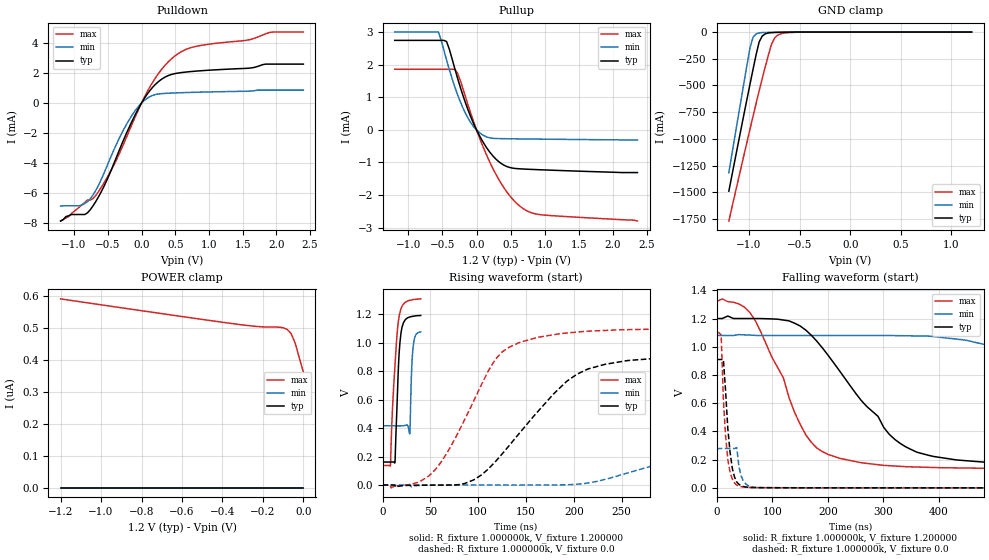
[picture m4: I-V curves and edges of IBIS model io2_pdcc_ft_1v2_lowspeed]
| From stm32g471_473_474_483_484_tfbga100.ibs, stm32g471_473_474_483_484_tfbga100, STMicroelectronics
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|   Model io2_pdcc_ft_1v2_lowspeed
[Model]  io2_pdcc_ft_1v2_lowspeed
Model_type I/O
Polarity   Non-Inverting
Enable   Active-Low
Vinl =   0.360000V
Vinh =   0.840000V
Vmeas =  0.600000V
Cref =   40.000000pF
Rref =   100.000000M
Vref =   0.0V
C_comp   3.923200pF   3.103700pF   4.923200pF
[Temperature Range]   25.000000   -40.000000   0.125000k
[Pullup Reference]   1.200000V   1.080000V   1.320000V
[Pulldown Reference]   0.0V   0.0V   0.0V
[POWER Clamp Reference]   1.200000V   1.080000V   1.320000V
[GND Clamp Reference]   0.0V   0.0V   0.0V
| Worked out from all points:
|   slope of the pulldown table from 0 to 0.18 V, typ, clamps not added: 160 ohm
|   slope of the pullup table from 0 to 0.18 V, typ, clamps not added: 281 ohm
|   GND clamp passes 1 mA (typ) near -0.58 V on its own axis
|   rising waveform, R_fixture 1.000000k, V_fixture 1.200000: 20-80 % time 3.93ns typ, 2.3ns min, 6ns max; typ from 0.161 V to 1.19 V
|   rising waveform, R_fixture 1.000000k, V_fixture 0.0: 20-80 % time 72ns typ, 103ns min, 50.9ns max; typ from 0 V to 0.909 V
|   falling waveform, R_fixture 1.000000k, V_fixture 1.200000: 20-80 % time 123ns typ, 290ns min, 78.8ns max; typ from 1.2 V to 0.161 V
|   falling waveform, R_fixture 1.000000k, V_fixture 0.0: 20-80 % time 11.3ns typ, 9.3ns min, 9.75ns max; typ from 0.909 V to 0 V
[Pulldown]
|Voltage   I(typ)   I(min)   I(max)
-1.2V     -7.9mA     -6.9mA     -7.9mA
-920mV    -7.464mA   -6.879mA   -6.96mA
-840mV    -7.464mA   -6.721mA   -6.65mA
-720mV    -6.893mA   -6.163mA   -6.401mA
-440mV    -4.389mA   -3.449mA   -4.411mA
-120mV    -1.022mA   -674.6uA   -1.201mA
80mV      569.2uA    307.2uA    721.9uA
320mV     1.664mA    639.8uA    2.378mA
520mV     1.996mA    684uA      3.24mA
760mV     2.123mA    719uA      3.749mA
1.92V     2.611mA    868uA      4.749mA
2.4V      2.611mA    868uA      4.759mA
[Pullup]
|Voltage   I(typ)   I(min)   I(max)
-1.2V     2.756mA    3.013mA    1.867mA
-560mV    2.756mA    3.013mA    1.867mA
-440mV    2.722mA    2.155mA    1.867mA
-320mV    1.896mA    1.332mA    1.867mA
-280mV    1.605mA    1.096mA    1.753mA
-160mV    820.1uA    504.5uA    1.006mA
0V        180fA      0A         5.09nA
200mV     -697.7uA   -244.9uA   -1.014mA
400mV     -1.08mA    -267.8uA   -1.772mA
600mV     -1.19mA    -273.6uA   -2.279mA
840mV     -1.216mA   -279.5uA   -2.568mA
2.36V     -1.31mA    -310uA     -2.8mA
[GND_clamp]
|Voltage   I(typ)   I(min)   I(max)
-1.2V     -1.489A    -1.316A    -1.768A
-990mV    -483.9mA   -143.2mA   -905.1mA
-960mV    -345.5mA   -47.06mA   -785.1mA
-930mV    -210.2mA   -16.78mA   -666.5mA
-900mV    -91.9mA    -7.899mA   -550mA
-870mV    -37.65mA   -5.169mA   -436mA
-780mV    -5.831mA   -2.725mA   -119.5mA
-750mV    -4.305mA   -2.173mA   -59.87mA
-720mV    -3.378mA   -1.668mA   -31.03mA
-660mV    -2.12mA    -830uA     -10.46mA
-480mV    -193.8uA   -7.86uA    -1.422mA
1.2V      0A         0A         248.8nA
[POWER_clamp]
|Voltage   I(typ)   I(min)   I(max)
-1.2V     0A         0A         592.1nA
-600mV    0A         0A         536.8nA
-320mV    0A         0A         512.1nA
-220mV    0A         0A         505.2nA
-120mV    0A         0A         503.5nA
-100mV    0A         0A         501.6nA
-80mV     0A         0A         496.5nA
-60mV     0A         0A         482.9nA
-40mV     0A         0A         452.5nA
-20mV     0A         0A         407nA
0V        0A         0A         363nA
[Ramp]
| variable   typ   min   max
dV/dt_r  0.70314/27.81265n   0.61458/66.11974n   0.77813/25.39545n
dV/dt_f  0.71076/79.14866n   0.63233/0.18064u   0.78368/51.62223n
R_load = 10.000000k
[Rising Waveform]
R_fixture= 1.000000k
V_fixture= 1.200000
V_fixture_min= 1.080000
V_fixture_max= 1.320000
|time   V(typ)   V(min)   V(max)
0s        161.5mV    416.1mV    137.1mV
8.168ns   161.4mV    415.8mV    136.4mV
10.17ns   161.6mV    415.8mV    506.7mV
12.89ns   156.7mV    415.7mV    831mV
17.78ns   967.8mV    415.6mV    1.202V
21.94ns   1.142V     416.5mV    1.272V
28.43ns   1.18V      361.6mV    1.298V
30.27ns   1.184V     786.2mV    1.3V
31.71ns   1.185V     954.7mV    1.302V
39.88ns   1.191V     1.076V     1.308V
[Rising Waveform]
R_fixture= 1.000000k
V_fixture= 0.0
V_fixture_min= 0.0
V_fixture_max= 0.0
|time   V(typ)   V(min)   V(max)
0s        35.56nV    40.45nV    16.79uV
30.03ns   -1.828mV   -12.45mV   4.665mV
55.06ns   -775.4uV   -639.7uV   108.1mV
86.09ns   11.02mV    -279.3uV   462.7mV
118.1ns   165.1mV    -441.6uV   883.7mV
144.1ns   372mV      -357.8uV   1.003V
192.2ns   726.3mV    1.295mV    1.068V
232.2ns   847.3mV    39.13mV    1.086V
360.4ns   904.5mV    234.3mV    1.099V
498.5ns   908.9mV    273.2mV    1.1V
[Falling Waveform]
R_fixture= 1.000000k
V_fixture= 1.200000
V_fixture_min= 1.080000
V_fixture_max= 1.320000
|time   V(typ)   V(min)   V(max)
0s        1.2V       1.08V      1.32V
60.06ns   1.2V       1.083V     1.241V
130.1ns   1.183V     1.08V      639.2mV
180.2ns   1.039V     1.08V      282.1mV
300.3ns   429.7mV    1.08V      159.5mV
360.4ns   252.4mV    1.077V     147.6mV
440.4ns   194.9mV    1.05V      140.9mV
810.8ns   162mV      560.7mV    137.1mV
1.101us   161.5mV    438.7mV    137.1mV
4.985us   161.5mV    416.1mV    137.1mV
[Falling Waveform]
R_fixture= 1.000000k
V_fixture= 0.0
V_fixture_min= 0.0
V_fixture_max= 0.0
|time   V(typ)   V(min)   V(max)
0s        909.4mV    278.6mV    1.1V
8.008ns   909.4mV    278.6mV    1.084V
12.01ns   909.4mV    278.6mV    628mV
16.02ns   685.7mV    278.6mV    366.3mV
20.02ns   419.5mV    278.6mV    200.4mV
28.03ns   140mV      278.6mV    62.6mV
36.04ns   41.95mV    285.5mV    19.6mV
44.04ns   15.21mV    83.33mV    7.911mV
88.09ns   1.38mV     604.2uV    1.286mV
1.994us   41.49nV    37.62nV    16.94uV
